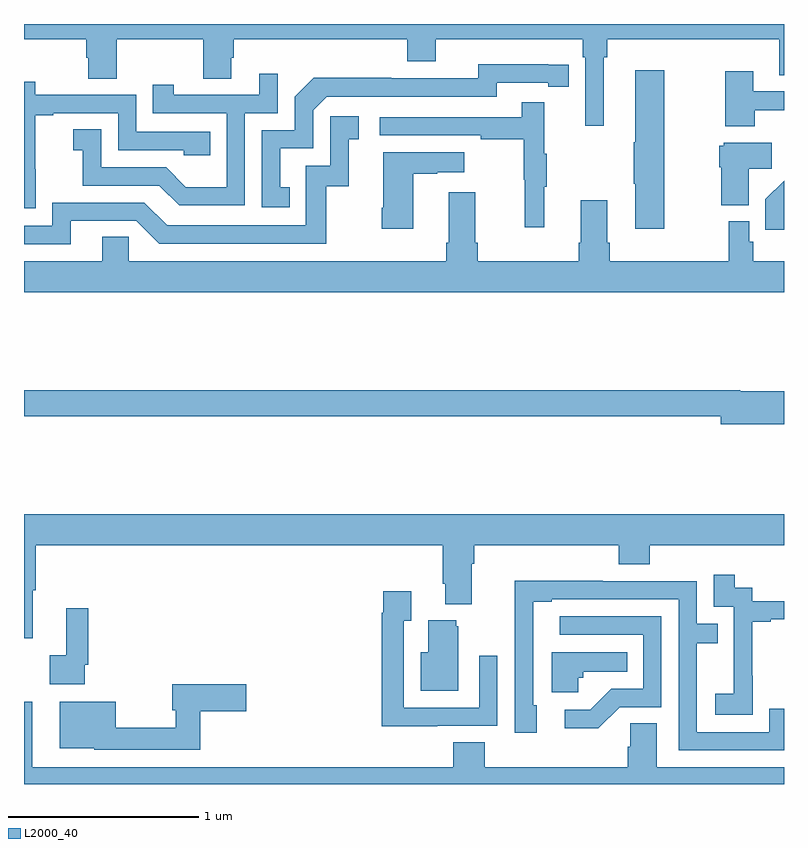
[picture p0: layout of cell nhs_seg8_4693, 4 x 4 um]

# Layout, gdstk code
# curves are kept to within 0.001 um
import gdstk
lib = gdstk.Library(unit=1e-6, precision=1e-09)
def P(c, l, *ps):  # polygons
    for p in ps: c.add(gdstk.Polygon(p, *l))
L2000_40 = (2000, 40)

nhs_seg8_4693 = lib.new_cell('nhs_seg8_4693')
P(nhs_seg8_4693, L2000_40, [(395,1129.82),(395.327,1129.82),(395.327,1129.722),(395.339,1129.722),(395.339,1129.612),(395.487,1129.612),(395.487,1129.82),(395.944,1129.82),(395.944,1129.612),(396.091,1129.612),(396.091,1129.722),(396.104,1129.722),(396.104,1129.82),(397.016,1129.82),(397.016,1129.703),(397.168,1129.703),(397.168,1129.82),(397.94,1129.82),(397.94,1129.724),(397.953,1129.724),(397.953,1129.365),(398.05,1129.365),(398.05,1129.724),(398.069,1129.724),(398.069,1129.82),(398.975,1129.82),(398.975,1129.63),(399,1129.63),(399,1129.9),(395,1129.9)],
  [(396.398,1129.041),(396.349,1129.041),(396.349,1129.245),(396.522,1129.245),(396.522,1129.446),(396.594,1129.518),(397.488,1129.518),(397.488,1129.59),(397.76,1129.59),(397.76,1129.57),(397.868,1129.57),(397.868,1129.686),(397.392,1129.687),(397.392,1129.614),(396.932,1129.614),(396.932,1129.616),(396.524,1129.616),(396.426,1129.518),(396.426,1129.341),(396.252,1129.341),(396.252,1128.936),(396.398,1128.936)],
  [(398.37,1129.657),(398.216,1129.657),(398.216,1129.277),(398.209,1129.277),(398.209,1129.06),(398.216,1129.06),(398.216,1128.822),(398.37,1128.822)],
  [(398.847,1129.446),(399,1129.446),(399,1129.545),(398.839,1129.545),(398.839,1129.651),(398.692,1129.651),(398.692,1129.361),(398.847,1129.361)],
  [(396.162,1129.431),(396.336,1129.431),(396.336,1129.639),(396.239,1129.639),(396.239,1129.527),(395.788,1129.527),(395.788,1129.579),(395.677,1129.579),(395.677,1129.431),(396.066,1129.431),(396.066,1129.042),(395.852,1129.042),(395.748,1129.146),(395.406,1129.146),(395.406,1129.345),(395.259,1129.345),(395.259,1129.235),(395.308,1129.235),(395.308,1129.05),(395.711,1129.05),(395.816,1128.945),(396.162,1128.945)],
  [(395.061,1129.135),(395.06,1129.135),(395.06,1129.419),(395.155,1129.419),(395.155,1129.431),(395.496,1129.431),(395.496,1129.236),(395.841,1129.236),(395.841,1129.209),(395.981,1129.209),(395.981,1129.332),(395.592,1129.332),(395.592,1129.527),(395.058,1129.527),(395.058,1129.596),(395,1129.596),(395,1128.929),(395.061,1128.929)],
  [(397.739,1129.043),(397.75,1129.043),(397.75,1129.217),(397.739,1129.217),(397.739,1129.489),(397.621,1129.489),(397.621,1129.41),(396.873,1129.41),(396.873,1129.314),(397.405,1129.314),(397.405,1129.294),(397.629,1129.294),(397.629,1129.08),(397.636,1129.08),(397.636,1128.831),(397.739,1128.831)],
  [(395.245,1128.864),(395.592,1128.864),(395.712,1128.744),(396.592,1128.744),(396.592,1129.047),(396.71,1129.047),(396.71,1129.293),(396.763,1129.293),(396.763,1129.414),(396.612,1129.414),(396.612,1129.155),(396.483,1129.155),(396.483,1128.84),(395.754,1128.84),(395.634,1128.96),(395.148,1128.96),(395.148,1128.837),(395,1128.837),(395,1128.741),(395.245,1128.741)],
  [(398.815,1129.138),(398.936,1129.138),(398.936,1129.276),(398.682,1129.276),(398.682,1129.26),(398.659,1129.26),(398.659,1129.146),(398.671,1129.146),(398.671,1128.947),(398.815,1128.947)],
  [(397.048,1129.111),(397.175,1129.111),(397.175,1129.121),(397.318,1129.121),(397.318,1129.225),(396.89,1129.225),(396.89,1128.934),(396.883,1128.934),(396.883,1128.822),(397.048,1128.822)],
  [(399,1129.076),(398.902,1128.978),(398.902,1128.816),(399,1128.816)],
  [(399,1128.652),(398.837,1128.652),(398.837,1128.753),(398.817,1128.753),(398.817,1128.862),(398.709,1128.862),(398.709,1128.652),(398.084,1128.652),(398.084,1128.748),(398.071,1128.748),(398.071,1128.973),(397.931,1128.973),(397.931,1128.748),(397.919,1128.748),(397.919,1128.652),(397.388,1128.652),(397.388,1128.748),(397.375,1128.748),(397.375,1129.015),(397.235,1129.015),(397.235,1128.748),(397.223,1128.748),(397.223,1128.652),(395.55,1128.652),(395.55,1128.779),(395.411,1128.779),(395.411,1128.652),(395,1128.652),(395,1128.488),(399,1128.488)],
  [(399,1127.966),(398.77,1127.966),(398.77,1127.972),(395,1127.972),(395,1127.836),(398.666,1127.836),(398.666,1127.794),(399,1127.794)],
  [(395.045,1126.92),(395.063,1126.92),(395.063,1127.156),(397.205,1127.156),(397.205,1126.954),(397.217,1126.954),(397.217,1126.847),(397.357,1126.847),(397.357,1127.06),(397.37,1127.06),(397.37,1127.156),(398.129,1127.156),(398.129,1127.057),(398.294,1127.057),(398.294,1127.156),(399,1127.156),(399,1127.32),(395,1127.32),(395,1126.668),(395.045,1126.668)],
  [(398.835,1126.471),(398.834,1126.471),(398.834,1126.755),(398.929,1126.755),(398.929,1126.767),(399,1126.767),(399,1126.863),(398.832,1126.863),(398.832,1126.932),(398.74,1126.932),(398.74,1127.002),(398.631,1127.002),(398.631,1126.833),(398.736,1126.833),(398.736,1126.604),(398.735,1126.604),(398.735,1126.375),(398.637,1126.375),(398.637,1126.265),(398.835,1126.265)],
  [(399,1126.296),(398.922,1126.296),(398.922,1126.173),(398.541,1126.173),(398.541,1126.642),(398.651,1126.642),(398.651,1126.743),(398.541,1126.743),(398.541,1126.968),(398.045,1126.968),(398.045,1126.97),(397.582,1126.97),(397.582,1126.663),(397.584,1126.663),(397.584,1126.17),(397.699,1126.17),(397.699,1126.314),(397.68,1126.314),(397.68,1126.86),(397.777,1126.86),(397.777,1126.872),(398.445,1126.872),(398.445,1126.077),(399,1126.077)],
  [(397.175,1126.206),(397.491,1126.206),(397.491,1126.576),(397.395,1126.576),(397.395,1126.302),(396.999,1126.302),(396.999,1126.759),(397.039,1126.759),(397.039,1126.915),(396.891,1126.915),(396.891,1126.802),(396.883,1126.802),(396.883,1126.205),(397.175,1126.205)],
  [(395.319,1126.528),(395.339,1126.528),(395.339,1126.825),(395.222,1126.825),(395.222,1126.577),(395.136,1126.577),(395.136,1126.424),(395.319,1126.424)],
  [(398.136,1126.305),(398.355,1126.305),(398.355,1126.782),(397.821,1126.782),(397.821,1126.686),(398.259,1126.686),(398.259,1126.401),(398.09,1126.401),(397.979,1126.29),(397.845,1126.29),(397.845,1126.193),(398.023,1126.193)],
  [(397.285,1126.731),(397.274,1126.731),(397.274,1126.762),(397.127,1126.762),(397.127,1126.594),(397.088,1126.594),(397.088,1126.391),(397.285,1126.391)],
  [(397.917,1126.458),(397.944,1126.458),(397.944,1126.49),(398.174,1126.49),(398.174,1126.594),(397.778,1126.594),(397.778,1126.382),(397.917,1126.382)],
  [(395.927,1126.282),(396.169,1126.282),(396.169,1126.424),(395.78,1126.424),(395.78,1126.289),(395.799,1126.289),(395.799,1126.196),(395.482,1126.196),(395.482,1126.333),(395.189,1126.333),(395.189,1126.088),(395.37,1126.088),(395.37,1126.08),(395.927,1126.08)],
  [(399,1125.988),(398.329,1125.988),(398.329,1126.22),(398.19,1126.22),(398.19,1126.097),(398.177,1126.097),(398.177,1125.988),(397.424,1125.988),(397.424,1126.121),(397.259,1126.121),(397.259,1125.988),(395.044,1125.988),(395.044,1126.333),(395,1126.333),(395,1125.9),(399,1125.9)])

lib.write_gds('nhs_seg8_4693.gds')
